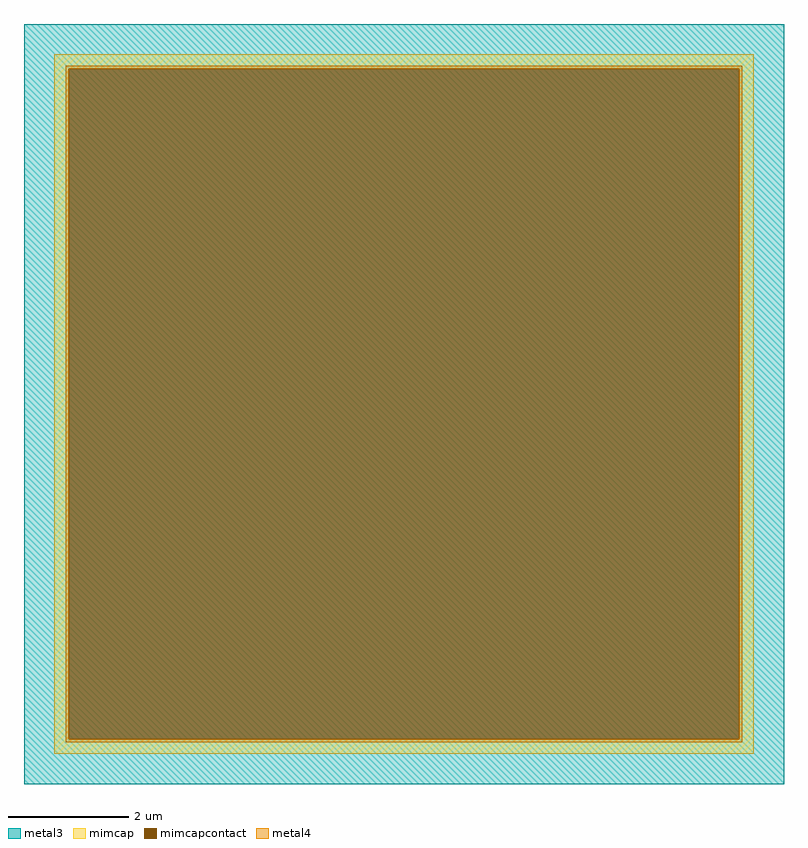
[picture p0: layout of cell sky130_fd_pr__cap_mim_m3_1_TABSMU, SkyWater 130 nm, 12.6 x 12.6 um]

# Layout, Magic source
magic
tech sky130A
magscale 1 2
<< metal3 >>
rect -1310 -1260 1210 1260
<< mimcap >>
rect -1210 1112 1110 1160
rect -1210 -1112 -1162 1112
rect 1062 -1112 1110 1112
rect -1210 -1160 1110 -1112
<< mimcapcontact >>
rect -1162 -1112 1062 1112
<< metal4 >>
rect -1171 1112 1071 1121
rect -1171 -1112 -1162 1112
rect 1062 -1112 1071 1112
rect -1171 -1121 1071 -1112
<< properties >>
string FIXED_BBOX -1310 -1260 1210 1260
<< end >>
